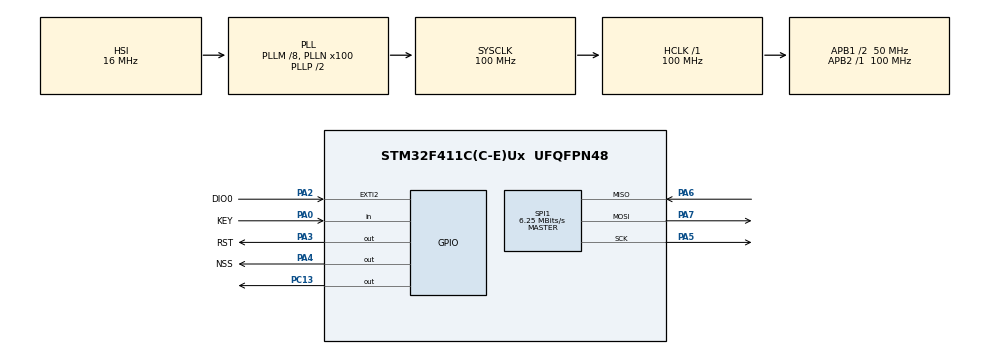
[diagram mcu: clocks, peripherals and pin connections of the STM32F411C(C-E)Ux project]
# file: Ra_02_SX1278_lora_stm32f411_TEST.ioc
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Mcu.Family=STM32F4
Mcu.Name=STM32F411C(C-E)Ux
Mcu.Package=UFQFPN48
NVIC.EXTI2_IRQn=true\:0\:0\:false\:false\:true\:true\:true\:true
NVIC.PriorityGroup=NVIC_PRIORITYGROUP_4
PA0-WKUP.GPIO_Label=KEY
PA0-WKUP.GPIO_PuPd=GPIO_PULLUP
PA0-WKUP.Signal=GPIO_Input
PA13.Mode=Serial_Wire
PA13.Signal=SYS_JTMS-SWDIO
PA14.Mode=Serial_Wire
PA14.Signal=SYS_JTCK-SWCLK
PA2.GPIO_Label=DIO0
PA2.Signal=GPXTI2
PA3.GPIO_Label=RST
PA3.PinState=GPIO_PIN_SET
PA3.Signal=GPIO_Output
PA4.GPIO_Label=NSS
PA4.PinState=GPIO_PIN_SET
PA4.Signal=GPIO_Output
PA5.Mode=Full_Duplex_Master
PA5.Signal=SPI1_SCK
PA6.Mode=Full_Duplex_Master
PA6.Signal=SPI1_MISO
PA7.Mode=Full_Duplex_Master
PA7.Signal=SPI1_MOSI
PC13-ANTI_TAMP.Signal=GPIO_Output
PH0\ -\ OSC_IN.Mode=HSE-External-Oscillator
PH0\ -\ OSC_IN.Signal=RCC_OSC_IN
PH1\ -\ OSC_OUT.Mode=HSE-External-Oscillator
PH1\ -\ OSC_OUT.Signal=RCC_OSC_OUT
ProjectManager.HeapSize=0x200
ProjectManager.StackSize=0x400
ProjectManager.TargetToolchain=STM32CubeIDE
RCC.48MHZClocksFreq_Value=50000000
RCC.AHBFreq_Value=100000000
RCC.APB1CLKDivider=RCC_HCLK_DIV2
RCC.APB1Freq_Value=50000000
RCC.APB1TimFreq_Value=100000000
RCC.APB2Freq_Value=100000000
RCC.APB2TimFreq_Value=100000000
RCC.CortexFreq_Value=100000000
RCC.HCLKFreq_Value=100000000
RCC.HSE_VALUE=25000000
RCC.HSI_VALUE=16000000
RCC.LSE_VALUE=32768
RCC.PLLM=8
RCC.PLLN=100
RCC.SYSCLKFreq_VALUE=100000000
RCC.SYSCLKSource=RCC_SYSCLKSOURCE_PLLCLK
RCC.VCOOutputFreq_Value=200000000
SPI1.BaudRatePrescaler=SPI_BAUDRATEPRESCALER_16
SPI1.CalculateBaudRate=6.25 MBits/s
SPI1.Direction=SPI_DIRECTION_2LINES
SPI1.Mode=SPI_MODE_MASTER
SPI1.VirtualType=VM_MASTER
board=custom

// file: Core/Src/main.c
/* USER CODE BEGIN Header */
/**
  ******************************************************************************
  * @file           : main.c
  * @brief          : Main program body
  ******************************************************************************
  * @attention
  *
  * Copyright (c) 2024 STMicroelectronics.
  * All rights reserved.
  *
  * This software is licensed under terms that can be found in the LICENSE file
  * in the root directory of this software component.
  * If no LICENSE file comes with this software, it is provided AS-IS.
  *
  ******************************************************************************
  */
/* USER CODE END Header */
#include "main.h"

/* USER CODE BEGIN Includes */
#include "LoRa.h"
/* USER CODE END Includes */

SPI_HandleTypeDef hspi1;

/* USER CODE BEGIN PV */

LoRa myLoRa;

uint16_t LoRa_stat = 0;

uint8_t TxBuffer[128];
uint8_t RxBuffer[128];

/* USER CODE END PV */

void SystemClock_Config(void);
static void MX_GPIO_Init(void);
static void MX_SPI1_Init(void);

/* USER CODE BEGIN 0 */

void HAL_GPIO_EXTI_Callback(uint16_t GPIO_Pin)
{
	if(GPIO_Pin == myLoRa.DIO0_pin){
		LoRa_receive(&myLoRa, RxBuffer, 128);
		HAL_GPIO_TogglePin(GPIOC, GPIO_PIN_13);

	}
}

/* USER CODE END 0 */

int main(void)
{

  /* MCU Configuration--------------------------------------------------------*/

  /* Reset of all peripherals, Initializes the Flash interface and the Systick. */
  HAL_Init();

  /* Configure the system clock */
  SystemClock_Config();

  /* Initialize all configured peripherals */
  MX_GPIO_Init();
  MX_SPI1_Init();
  /* USER CODE BEGIN 2 */

  myLoRa = newLoRa();

  myLoRa.CS_port         = NSS_GPIO_Port;
  myLoRa.CS_pin          = NSS_Pin;
  myLoRa.reset_port      = RST_GPIO_Port;
  myLoRa.reset_pin       = RST_Pin;
  myLoRa.DIO0_port       = DIO0_GPIO_Port;
  myLoRa.DIO0_pin        = DIO0_Pin;
  myLoRa.hSPIx           = &hspi1;

  myLoRa.frequency             = 433;             // default = 433 MHz
  myLoRa.spredingFactor        = SF_7;            // default = SF_7
  myLoRa.bandWidth             = BW_125KHz;       // default = BW_125KHz
  myLoRa.crcRate               = CR_4_5;          // default = CR_4_5
  myLoRa.power                 = POWER_20db;      // default = 20db
  myLoRa.overCurrentProtection = 100;             // default = 100 mA
  myLoRa.preamble              = 8;              // default = 8;

  if(LoRa_init(&myLoRa) == LORA_OK){
	  LoRa_stat = 1;
  }

  LoRa_startReceiving(&myLoRa);

  TxBuffer[0] = 45;
  TxBuffer[1] = 0xF2;
  TxBuffer[2] = 'G';

  LoRa_transmit(&myLoRa, TxBuffer, 3, 500);

  /* USER CODE END 2 */

  /* Infinite loop */
  /* USER CODE BEGIN WHILE */
  while (1)
  {
	  //LoRa_receive(&myLoRa, RxBuffer, 128);

	  if(HAL_GPIO_ReadPin(KEY_GPIO_Port, KEY_Pin) == 0){
		  if(LoRa_transmit(&myLoRa, TxBuffer, 3, 500) == 1){
			  HAL_GPIO_TogglePin(GPIOC, GPIO_PIN_13);
		  }

	  }

	  //HAL_Delay(100);

    /* USER CODE END WHILE */

  }
}

void SystemClock_Config(void)
{
  RCC_OscInitTypeDef RCC_OscInitStruct = {0};
  RCC_ClkInitTypeDef RCC_ClkInitStruct = {0};

  /** Configure the main internal regulator output voltage
  */
  __HAL_RCC_PWR_CLK_ENABLE();
  __HAL_PWR_VOLTAGESCALING_CONFIG(PWR_REGULATOR_VOLTAGE_SCALE1);

  /** Initializes the RCC Oscillators according to the specified parameters
  * in the RCC_OscInitTypeDef structure.
  */
  RCC_OscInitStruct.OscillatorType = RCC_OSCILLATORTYPE_HSI;
  RCC_OscInitStruct.HSIState = RCC_HSI_ON;
  RCC_OscInitStruct.HSICalibrationValue = RCC_HSICALIBRATION_DEFAULT;
  RCC_OscInitStruct.PLL.PLLState = RCC_PLL_ON;
  RCC_OscInitStruct.PLL.PLLSource = RCC_PLLSOURCE_HSI;
  RCC_OscInitStruct.PLL.PLLM = 8;
  RCC_OscInitStruct.PLL.PLLN = 100;
  RCC_OscInitStruct.PLL.PLLP = RCC_PLLP_DIV2;
  RCC_OscInitStruct.PLL.PLLQ = 4;
  if (HAL_RCC_OscConfig(&RCC_OscInitStruct) != HAL_OK)
  {
    Error_Handler();
  }

  /** Initializes the CPU, AHB and APB buses clocks
  */
  RCC_ClkInitStruct.ClockType = RCC_CLOCKTYPE_HCLK|RCC_CLOCKTYPE_SYSCLK
                              |RCC_CLOCKTYPE_PCLK1|RCC_CLOCKTYPE_PCLK2;
  RCC_ClkInitStruct.SYSCLKSource = RCC_SYSCLKSOURCE_PLLCLK;
  RCC_ClkInitStruct.AHBCLKDivider = RCC_SYSCLK_DIV1;
  RCC_ClkInitStruct.APB1CLKDivider = RCC_HCLK_DIV2;
  RCC_ClkInitStruct.APB2CLKDivider = RCC_HCLK_DIV1;

  if (HAL_RCC_ClockConfig(&RCC_ClkInitStruct, FLASH_LATENCY_3) != HAL_OK)
  {
    Error_Handler();
  }
}

static void MX_SPI1_Init(void)
{

  /* SPI1 parameter configuration*/
  hspi1.Instance = SPI1;
  hspi1.Init.Mode = SPI_MODE_MASTER;
  hspi1.Init.Direction = SPI_DIRECTION_2LINES;
  hspi1.Init.DataSize = SPI_DATASIZE_8BIT;
  hspi1.Init.CLKPolarity = SPI_POLARITY_LOW;
  hspi1.Init.CLKPhase = SPI_PHASE_1EDGE;
  hspi1.Init.NSS = SPI_NSS_SOFT;
  hspi1.Init.BaudRatePrescaler = SPI_BAUDRATEPRESCALER_16;
  hspi1.Init.FirstBit = SPI_FIRSTBIT_MSB;
  hspi1.Init.TIMode = SPI_TIMODE_DISABLE;
  hspi1.Init.CRCCalculation = SPI_CRCCALCULATION_DISABLE;
  hspi1.Init.CRCPolynomial = 10;
  if (HAL_SPI_Init(&hspi1) != HAL_OK)
  {
    Error_Handler();
  }

}

static void MX_GPIO_Init(void)
{
  GPIO_InitTypeDef GPIO_InitStruct = {0};

  /* GPIO Ports Clock Enable */
  __HAL_RCC_GPIOC_CLK_ENABLE();
  __HAL_RCC_GPIOH_CLK_ENABLE();
  __HAL_RCC_GPIOA_CLK_ENABLE();

  /*Configure GPIO pin Output Level */
  HAL_GPIO_WritePin(GPIOC, GPIO_PIN_13, GPIO_PIN_RESET);

  /*Configure GPIO pin Output Level */
  HAL_GPIO_WritePin(GPIOA, RST_Pin|NSS_Pin, GPIO_PIN_SET);

  /*Configure GPIO pin : PC13 */
  GPIO_InitStruct.Pin = GPIO_PIN_13;
  GPIO_InitStruct.Mode = GPIO_MODE_OUTPUT_PP;
  GPIO_InitStruct.Pull = GPIO_NOPULL;
  GPIO_InitStruct.Speed = GPIO_SPEED_FREQ_LOW;
  HAL_GPIO_Init(GPIOC, &GPIO_InitStruct);

  /*Configure GPIO pin : KEY_Pin */
  GPIO_InitStruct.Pin = KEY_Pin;
  GPIO_InitStruct.Mode = GPIO_MODE_INPUT;
  GPIO_InitStruct.Pull = GPIO_PULLUP;
  HAL_GPIO_Init(KEY_GPIO_Port, &GPIO_InitStruct);

  /*Configure GPIO pin : DIO0_Pin */
  GPIO_InitStruct.Pin = DIO0_Pin;
  GPIO_InitStruct.Mode = GPIO_MODE_IT_RISING;
  GPIO_InitStruct.Pull = GPIO_NOPULL;
  HAL_GPIO_Init(DIO0_GPIO_Port, &GPIO_InitStruct);

  /*Configure GPIO pins : RST_Pin NSS_Pin */
  GPIO_InitStruct.Pin = RST_Pin|NSS_Pin;
  GPIO_InitStruct.Mode = GPIO_MODE_OUTPUT_PP;
  GPIO_InitStruct.Pull = GPIO_NOPULL;
  GPIO_InitStruct.Speed = GPIO_SPEED_FREQ_LOW;
  HAL_GPIO_Init(GPIOA, &GPIO_InitStruct);

  /* EXTI interrupt init*/
  HAL_NVIC_SetPriority(EXTI2_IRQn, 0, 0);
  HAL_NVIC_EnableIRQ(EXTI2_IRQn);

}

void Error_Handler(void)
{
  __disable_irq();
  while (1)
  {
  }
}
